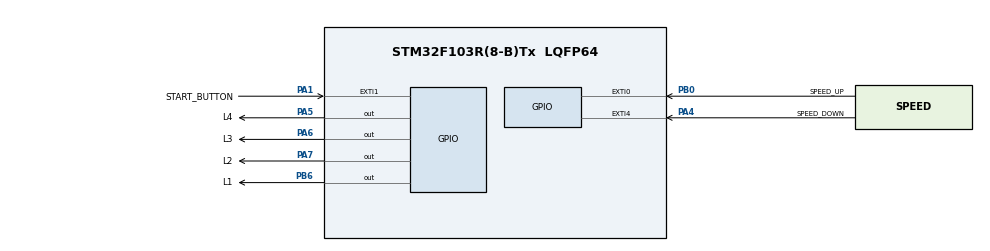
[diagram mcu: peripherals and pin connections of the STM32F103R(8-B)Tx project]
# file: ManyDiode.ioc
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Mcu.Family=STM32F1
Mcu.Name=STM32F103R(8-B)Tx
Mcu.Package=LQFP64
NVIC.EXTI0_IRQn=true\:0\:0\:false\:false\:true\:true\:true
NVIC.EXTI1_IRQn=true\:0\:0\:false\:false\:true\:true\:true
NVIC.EXTI4_IRQn=true\:0\:0\:false\:false\:true\:true\:true
NVIC.PriorityGroup=NVIC_PRIORITYGROUP_4
PA1.GPIO_Label=START_BUTTON
PA1.Signal=GPXTI1
PA4.GPIO_Label=SPEED_DOWN
PA4.Signal=GPXTI4
PA5.GPIO_Label=L4
PA5.Signal=GPIO_Output
PA6.GPIO_Label=L3
PA6.Signal=GPIO_Output
PA7.GPIO_Label=L2
PA7.Signal=GPIO_Output
PB0.GPIO_Label=SPEED_UP
PB0.Signal=GPXTI0
PB6.GPIO_Label=L1
PB6.Signal=GPIO_Output
ProjectManager.HeapSize=0x200
ProjectManager.StackSize=0x400
ProjectManager.TargetToolchain=MDK-ARM V5.27
RCC.APB1Freq_Value=8000000
RCC.APB2Freq_Value=8000000
VP_SYS_VS_ND.Mode=No_Debug
board=custom

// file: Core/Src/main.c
/* USER CODE BEGIN Header */
/**
  ******************************************************************************
  * @file           : main.c
  * @brief          : Main program body
  ******************************************************************************
  * @attention
  *
  * <h2><center>&copy; Copyright (c) 2022 STMicroelectronics.
  * All rights reserved.</center></h2>
  *
  * This software component is licensed by ST under BSD 3-Clause license,
  * the "License"; You may not use this file except in compliance with the
  * License. You may obtain a copy of the License at:
  *                        opensource.org/licenses/BSD-3-Clause
  *
  ******************************************************************************
  */
/* USER CODE END Header */
#include "main.h"

/* USER CODE BEGIN PV */

#define STATE_COUNT 9

int speed = MIN_SPEED;
int enabled = 1;

/* USER CODE END PV */

void SystemClock_Config(void);
static void MX_GPIO_Init(void);

/* USER CODE BEGIN 0 */

void setState(int* state) {
		HAL_GPIO_WritePin(L1_GPIO_Port, L1_Pin, state[0]);
		HAL_GPIO_WritePin(L2_GPIO_Port, L2_Pin, state[1]);
		HAL_GPIO_WritePin(L3_GPIO_Port, L3_Pin, state[2]);
		HAL_GPIO_WritePin(L4_GPIO_Port, L4_Pin, state[3]);
}

/* USER CODE END 0 */

int main(void)
{

  /* MCU Configuration--------------------------------------------------------*/

  /* Reset of all peripherals, Initializes the Flash interface and the Systick. */
  HAL_Init();

  /* Configure the system clock */
  SystemClock_Config();

  /* Initialize all configured peripherals */
  MX_GPIO_Init();
  /* USER CODE BEGIN 2 */

	int currentIndex = 0;
	int states[STATE_COUNT][4] = {
		{0,0,0,0},
		{1,0,0,0},
		{0,0,0,1},
		{0,1,0,0},
		{0,0,1,0},
		{1,1,0,0},
		{0,0,1,1},
		{0,1,1,0},
		{1,1,1,1}
	};
  /* USER CODE END 2 */

  /* Infinite loop */
  while (1)
  {

    /* USER CODE BEGIN 3 */
		if(!enabled) continue;
		HAL_Delay(speed * 100);
		if(!enabled) continue;

		int* state = states[currentIndex];
		setState(state);

		currentIndex = (currentIndex + 1) % STATE_COUNT;
  }
  /* USER CODE END 3 */
}

void SystemClock_Config(void)
{
  RCC_OscInitTypeDef RCC_OscInitStruct = {0};
  RCC_ClkInitTypeDef RCC_ClkInitStruct = {0};

  /** Initializes the RCC Oscillators according to the specified parameters
  * in the RCC_OscInitTypeDef structure.
  */
  RCC_OscInitStruct.OscillatorType = RCC_OSCILLATORTYPE_HSI;
  RCC_OscInitStruct.HSIState = RCC_HSI_ON;
  RCC_OscInitStruct.HSICalibrationValue = RCC_HSICALIBRATION_DEFAULT;
  RCC_OscInitStruct.PLL.PLLState = RCC_PLL_NONE;
  if (HAL_RCC_OscConfig(&RCC_OscInitStruct) != HAL_OK)
  {
    Error_Handler();
  }
  /** Initializes the CPU, AHB and APB buses clocks
  */
  RCC_ClkInitStruct.ClockType = RCC_CLOCKTYPE_HCLK|RCC_CLOCKTYPE_SYSCLK
                              |RCC_CLOCKTYPE_PCLK1|RCC_CLOCKTYPE_PCLK2;
  RCC_ClkInitStruct.SYSCLKSource = RCC_SYSCLKSOURCE_HSI;
  RCC_ClkInitStruct.AHBCLKDivider = RCC_SYSCLK_DIV1;
  RCC_ClkInitStruct.APB1CLKDivider = RCC_HCLK_DIV1;
  RCC_ClkInitStruct.APB2CLKDivider = RCC_HCLK_DIV1;

  if (HAL_RCC_ClockConfig(&RCC_ClkInitStruct, FLASH_LATENCY_0) != HAL_OK)
  {
    Error_Handler();
  }
}

static void MX_GPIO_Init(void)
{
  GPIO_InitTypeDef GPIO_InitStruct = {0};

  /* GPIO Ports Clock Enable */
  __HAL_RCC_GPIOA_CLK_ENABLE();
  __HAL_RCC_GPIOB_CLK_ENABLE();

  /*Configure GPIO pin Output Level */
  HAL_GPIO_WritePin(GPIOA, L4_Pin|L3_Pin|L2_Pin, GPIO_PIN_RESET);

  /*Configure GPIO pin Output Level */
  HAL_GPIO_WritePin(L1_GPIO_Port, L1_Pin, GPIO_PIN_RESET);

  /*Configure GPIO pins : START_BUTTON_Pin SPEED_DOWN_Pin */
  GPIO_InitStruct.Pin = START_BUTTON_Pin|SPEED_DOWN_Pin;
  GPIO_InitStruct.Mode = GPIO_MODE_IT_RISING;
  GPIO_InitStruct.Pull = GPIO_NOPULL;
  HAL_GPIO_Init(GPIOA, &GPIO_InitStruct);

  /*Configure GPIO pins : L4_Pin L3_Pin L2_Pin */
  GPIO_InitStruct.Pin = L4_Pin|L3_Pin|L2_Pin;
  GPIO_InitStruct.Mode = GPIO_MODE_OUTPUT_PP;
  GPIO_InitStruct.Pull = GPIO_NOPULL;
  GPIO_InitStruct.Speed = GPIO_SPEED_FREQ_LOW;
  HAL_GPIO_Init(GPIOA, &GPIO_InitStruct);

  /*Configure GPIO pin : SPEED_UP_Pin */
  GPIO_InitStruct.Pin = SPEED_UP_Pin;
  GPIO_InitStruct.Mode = GPIO_MODE_IT_RISING;
  GPIO_InitStruct.Pull = GPIO_NOPULL;
  HAL_GPIO_Init(SPEED_UP_GPIO_Port, &GPIO_InitStruct);

  /*Configure GPIO pin : L1_Pin */
  GPIO_InitStruct.Pin = L1_Pin;
  GPIO_InitStruct.Mode = GPIO_MODE_OUTPUT_PP;
  GPIO_InitStruct.Pull = GPIO_NOPULL;
  GPIO_InitStruct.Speed = GPIO_SPEED_FREQ_LOW;
  HAL_GPIO_Init(L1_GPIO_Port, &GPIO_InitStruct);

  /* EXTI interrupt init*/
  HAL_NVIC_SetPriority(EXTI0_IRQn, 0, 0);
  HAL_NVIC_EnableIRQ(EXTI0_IRQn);

  HAL_NVIC_SetPriority(EXTI1_IRQn, 0, 0);
  HAL_NVIC_EnableIRQ(EXTI1_IRQn);

  HAL_NVIC_SetPriority(EXTI4_IRQn, 0, 0);
  HAL_NVIC_EnableIRQ(EXTI4_IRQn);

}

void Error_Handler(void)
{
  __disable_irq();
  while (1)
  {
  }
}

/************************ (C) COPYRIGHT STMicroelectronics *****END OF FILE****/
